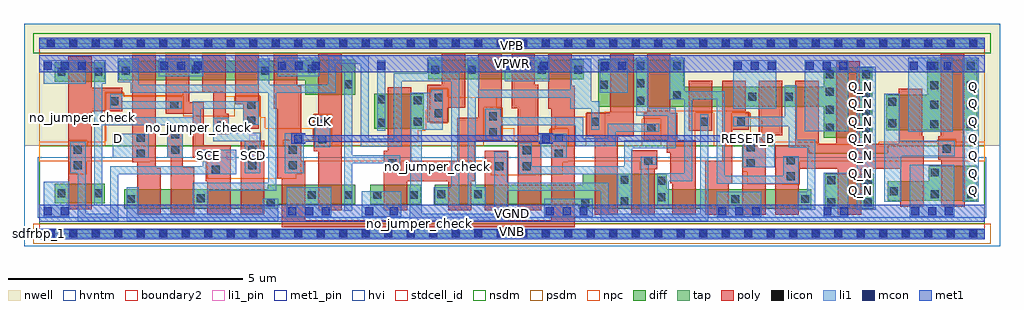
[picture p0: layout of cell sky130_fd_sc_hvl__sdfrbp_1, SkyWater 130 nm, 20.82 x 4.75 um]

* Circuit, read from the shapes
.subckt sky130_fd_sc_hvl__sdfrbp_1 CLK D Q Q_N RESET_B SCD SCE VGND VNB VPB VPWR
XM1 n1 SCE VGND VNB sky130_fd_pr__nfet_g5v0d10v5 w=0.42 l=0.5
XM2 n2 D n3 VNB sky130_fd_pr__nfet_g5v0d10v5 w=0.42 l=0.5
XM3 n4 n1 n2 VNB sky130_fd_pr__nfet_g5v0d10v5 w=0.42 l=0.5
XM4 n5 SCE n4 VNB sky130_fd_pr__nfet_g5v0d10v5 w=0.42 l=0.5
XM5 n3 SCD n5 VNB sky130_fd_pr__nfet_g5v0d10v5 w=0.42 l=0.5
XM6 VGND RESET_B n3 VNB sky130_fd_pr__nfet_g5v0d10v5 w=0.42 l=0.5
XM7 n6 CLK VGND VNB sky130_fd_pr__nfet_g5v0d10v5 w=0.42 l=0.5
XM8 n7 n6 VGND VNB sky130_fd_pr__nfet_g5v0d10v5 w=0.42 l=0.5
XM9 n8 n6 n4 VNB sky130_fd_pr__nfet_g5v0d10v5 w=0.42 l=0.5
XM10 n9 n7 n8 VNB sky130_fd_pr__nfet_g5v0d10v5 w=0.42 l=0.5
XM11 n10 n11 n9 VNB sky130_fd_pr__nfet_g5v0d10v5 w=0.42 l=0.5
XM12 VGND RESET_B n10 VNB sky130_fd_pr__nfet_g5v0d10v5 w=0.42 l=0.5
XM13 n11 n8 VGND VNB sky130_fd_pr__nfet_g5v0d10v5 w=0.75 l=0.5
XM14 n12 n7 n11 VNB sky130_fd_pr__nfet_g5v0d10v5 w=0.75 l=0.5
XM15 n13 n6 n12 VNB sky130_fd_pr__nfet_g5v0d10v5 w=0.42 l=0.5
XM16 VGND n14 n13 VNB sky130_fd_pr__nfet_g5v0d10v5 w=0.42 l=0.5
XM17 n15 RESET_B VGND VNB sky130_fd_pr__nfet_g5v0d10v5 w=0.42 l=0.5
XM18 n14 n12 n15 VNB sky130_fd_pr__nfet_g5v0d10v5 w=0.42 l=0.5
XM19 Q_N n12 VGND VNB sky130_fd_pr__nfet_g5v0d10v5 w=0.75 l=0.5
XM20 VGND n12 n16 VNB sky130_fd_pr__nfet_g5v0d10v5 w=0.42 l=0.5
XM21 Q n16 VGND VNB sky130_fd_pr__nfet_g5v0d10v5 w=0.75 l=0.5
XM22 n1 SCE VPWR VPB sky130_fd_pr__pfet_g5v0d10v5 w=0.42 l=0.5
XM23 n17 D n4 VPB sky130_fd_pr__pfet_g5v0d10v5 w=0.42 l=0.5
XM24 VPWR SCE n17 VPB sky130_fd_pr__pfet_g5v0d10v5 w=0.42 l=0.5
XM25 n18 SCD VPWR VPB sky130_fd_pr__pfet_g5v0d10v5 w=0.42 l=0.5
XM26 n4 n1 n18 VPB sky130_fd_pr__pfet_g5v0d10v5 w=0.42 l=0.5
XM27 VPWR RESET_B n4 VPB sky130_fd_pr__pfet_g5v0d10v5 w=0.42 l=0.5
XM28 n6 CLK VPWR VPB sky130_fd_pr__pfet_g5v0d10v5 w=0.75 l=0.5
XM29 n7 n6 VPWR VPB sky130_fd_pr__pfet_g5v0d10v5 w=0.75 l=0.5
XM30 n8 n7 n4 VPB sky130_fd_pr__pfet_g5v0d10v5 w=0.42 l=0.5
XM31 n19 n6 n8 VPB sky130_fd_pr__pfet_g5v0d10v5 w=0.42 l=0.5
XM32 VPWR n11 n19 VPB sky130_fd_pr__pfet_g5v0d10v5 w=0.42 l=0.5
XM33 n8 RESET_B VPWR VPB sky130_fd_pr__pfet_g5v0d10v5 w=0.42 l=0.5
XM34 n11 n8 VPWR VPB sky130_fd_pr__pfet_g5v0d10v5 w=1 l=0.5
XM35 n12 n6 n11 VPB sky130_fd_pr__pfet_g5v0d10v5 w=1 l=0.5
XM36 n20 n7 n12 VPB sky130_fd_pr__pfet_g5v0d10v5 w=0.42 l=0.5
XM37 VPWR n14 n20 VPB sky130_fd_pr__pfet_g5v0d10v5 w=0.42 l=0.5
XM38 n14 RESET_B VPWR VPB sky130_fd_pr__pfet_g5v0d10v5 w=0.42 l=0.5
XM39 VPWR n12 n14 VPB sky130_fd_pr__pfet_g5v0d10v5 w=0.42 l=0.5
XM40 Q_N n12 VPWR VPB sky130_fd_pr__pfet_g5v0d10v5 w=1.5 l=0.5
XM41 VPWR n12 n16 VPB sky130_fd_pr__pfet_g5v0d10v5 w=0.75 l=0.5
XM42 Q n16 VPWR VPB sky130_fd_pr__pfet_g5v0d10v5 w=1.5 l=0.5
.ends

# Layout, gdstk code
import gdstk
lib = gdstk.Library(unit=1e-6, precision=1e-09)
def R(c, l, rs):  # rectangles x0, y0, x1, y1
    for r in rs: c.add(gdstk.rectangle(r[:2], r[2:], *l))
def A(c, l, x, y, w, h, nx, ny, dx, dy):  # array of equal rectangles
    R(c, l, [(x+i*dx, y+j*dy, x+i*dx+w, y+j*dy+h) for i in range(nx) for j in range(ny)])
def P(c, l, *ps):  # polygons
    for p in ps: c.add(gdstk.Polygon(p, *l))
nwell = (64, 20)
diff = (65, 20)
tap = (65, 44)
poly = (66, 20)
licon = (66, 44)
li1_pin = (67, 16)
li1 = (67, 20)
mcon = (67, 44)
met1_pin = (68, 16)
met1 = (68, 20)
hvi = (75, 20)
stdcell_id = (81, 4)
nsdm = (93, 44)
psdm = (94, 20)
npc = (95, 20)
hvntm = (125, 20)
boundary2 = (236, 0)

sky130_fd_sc_hvl__sdfrbp = lib.new_cell('sky130_fd_sc_hvl__sdfrbp_1')
P(sky130_fd_sc_hvl__sdfrbp, nwell, [(20.49,4.485),(-0.33,4.485),(-0.33,1.885),(16.405,1.885),(16.405,1.72),(18.095,1.72),(18.095,1.885),(20.49,1.885)])
R(sky130_fd_sc_hvl__sdfrbp, diff, [(16.765,0.535,17.795,1.285), (7.06,0.63,8.13,1.05), (0.325,0.655,1.395,1.075), (7.145,2.245,8.195,2.995), (0.325,3.245,1.395,3.665), (8.295,3.295,11.615,3.715)])
P(sky130_fd_sc_hvl__sdfrbp, diff, [(6.735,1.05),(4.865,1.05),(4.865,0.955),(1.805,0.955),(1.805,0.535),(5.095,0.535),(5.095,0.63),(6.735,0.63)],
  [(6.735,3.715),(5.665,3.715),(5.665,3.695),(1.695,3.695),(1.695,3.275),(5.665,3.275),(5.665,2.965),(6.735,2.965)],
  [(16.465,0.955),(13.385,0.955),(13.385,1.285),(11.59,1.285),(11.59,1.05),(8.43,1.05),(8.43,0.63),(11.49,0.63),(11.49,0.535),(16.465,0.535)],
  [(17.765,3.55),(16.735,3.55),(16.735,3.135),(13.745,3.135),(13.745,3.715),(11.915,3.715),(11.915,2.715),(16.735,2.715),(16.735,2.05),(17.765,2.05)],
  [(20,1.455),(18.97,1.455),(18.97,1.125),(18.095,1.125),(18.095,0.705),(20,0.705)],
  [(20.01,3.715),(18.94,3.715),(18.94,2.965),(18.065,2.965),(18.065,2.215),(20.01,2.215)])
R(sky130_fd_sc_hvl__sdfrbp, tap, [(0,-0.085,20.16,0.085), (0,3.985,20.16,4.155)])
R(sky130_fd_sc_hvl__sdfrbp, poly, [(4.29,0.405,4.79,1.985), (9.495,0.5,9.995,1.775), (13.855,2.205,14.355,3.265)])
P(sky130_fd_sc_hvl__sdfrbp, poly, [(1.77,3.115),(1.11,3.115),(1.11,3.795),(0.61,3.795),(0.61,0.525),(1.11,0.525),(1.11,2.615),(1.77,2.615)],
  [(19.735,2.085),(19.725,2.085),(19.725,3.845),(19.225,3.845),(19.225,2.085),(19.17,2.085),(19.17,1.585),(19.235,1.585),(19.235,0.575),(19.735,0.575)],
  [(2.59,1.415),(2.48,1.415),(2.48,3.825),(1.98,3.825),(1.98,1.525),(2.09,1.525),(2.09,0.405),(2.59,0.405)],
  [(3.3,1.42),(3.06,1.42),(3.06,2.315),(2.73,2.315),(2.73,1.625),(2.8,1.625),(2.8,0.405),(3.3,0.405)],
  [(18.86,2.085),(18.83,2.085),(18.83,3.095),(18.33,3.095),(18.33,1.92),(17.5,1.92),(17.5,3.68),(17,3.68),(17,1.92),(16.625,1.92),(16.625,3.265),(16.125,3.265),(16.125,1.895),(15.7,1.895),(15.7,0.405),(16.2,0.405),(16.2,1.065),(16.215,1.065),(16.215,1.395),(17.03,1.395),(17.03,0.405),(17.53,0.405),(17.53,1.395),(18.36,1.395),(18.36,0.575),(18.86,0.575)],
  [(4.04,2.56),(3.97,2.56),(3.97,3.825),(3.47,3.825),(3.47,3.015),(3.71,3.015),(3.71,2.13),(4.04,2.13)],
  [(4.08,1.89),(3.5,1.89),(3.5,2.805),(3.19,2.805),(3.19,3.825),(2.69,3.825),(2.69,2.565),(3.27,2.565),(3.27,1.63),(3.55,1.63),(3.55,1.125),(3.58,1.125),(3.58,0.405),(4.08,0.405)],
  [(15.845,3.265),(15.345,3.265),(15.345,2.605),(15.34,2.605),(15.34,2.015),(14.99,2.015),(14.99,0.405),(15.49,0.405),(15.49,2.105),(15.845,2.105)],
  [(4.68,3.825),(4.18,3.825),(4.18,2.77),(4.35,2.77),(4.35,2.245),(4.68,2.245)],
  [(15.13,2.605),(15.065,2.605),(15.065,3.265),(14.565,3.265),(14.565,1.565),(14.205,1.565),(14.205,0.405),(14.705,0.405),(14.705,1.065),(14.78,1.065),(14.78,2.225),(15.13,2.225)],
  [(12.68,3.845),(12.18,3.845),(12.18,2.585),(11.675,2.585),(11.675,2.085),(11.84,2.085),(11.84,0.405),(12.34,0.405),(12.34,2.085),(12.68,2.085)],
  [(13.995,1.995),(13.61,1.995),(13.61,2.585),(13.46,2.585),(13.46,3.845),(12.96,3.845),(12.96,2.585),(12.89,2.585),(12.89,1.995),(13.385,1.995),(13.385,1.735),(13.46,1.735),(13.46,1.085),(13.495,1.085),(13.495,0.405),(13.995,0.405)],
  [(13.175,1.785),(12.62,1.785),(12.62,0.405),(13.12,0.405),(13.12,1.395),(13.175,1.395)],
  [(6.45,3.845),(5.95,3.845),(5.95,2.54),(5.85,2.54),(5.85,1.765),(5.95,1.765),(5.95,0.5),(6.45,0.5)],
  [(9.08,3.845),(8.58,3.845),(8.58,3.185),(8.27,3.185),(8.27,2.385),(8.705,2.385),(8.705,2.69),(9.08,2.69)],
  [(9.86,3.845),(9.36,3.845),(9.36,2.48),(8.915,2.48),(8.915,1.565),(7.93,1.565),(7.93,3.125),(7.43,3.125),(7.43,1.775),(7.345,1.775),(7.345,0.5),(7.845,0.5),(7.845,1.125),(8.715,1.125),(8.715,0.5),(9.215,0.5),(9.215,1.125),(9.285,1.125),(9.285,1.985),(9.86,1.985)],
  [(10.705,1.965),(10.64,1.965),(10.64,3.185),(10.57,3.185),(10.57,3.845),(10.07,3.845),(10.07,2.685),(10.205,2.685),(10.205,0.5),(10.705,0.5)],
  [(11.415,3.165),(11.35,3.165),(11.35,3.845),(10.85,3.845),(10.85,2.665),(10.915,2.665),(10.915,0.29),(5.67,0.29),(5.67,1.555),(5.585,1.555),(5.585,3.165),(5.5,3.165),(5.5,3.825),(5,3.825),(5,2.665),(5.07,2.665),(5.07,1.185),(5.17,1.185),(5.17,0.14),(11.415,0.14)])
A(sky130_fd_sc_hvl__sdfrbp, licon, 0.155, -0.085, 0.17, 0.17, 42, 2, 0.48, 4.07)
A(sky130_fd_sc_hvl__sdfrbp, licon, 12.735, 2.755, 0.17, 0.17, 1, 3, 0, 0.375)
R(sky130_fd_sc_hvl__sdfrbp, licon, [(11.555,0.575,11.725,0.745), (4.845,0.585,5.015,0.755), (16.805,0.595,16.975,0.765), (17.585,0.595,17.755,0.765), (12.395,0.615,12.565,0.785), (14.76,0.65,14.93,0.82), (1.865,0.66,2.035,0.83), (16.255,0.66,16.425,0.83), (3.355,0.68,3.525,0.85), (13.175,0.695,13.345,0.865), (5.725,0.745,5.895,0.915), (6.505,0.745,6.675,0.915), (7.12,0.745,7.29,0.915), (7.9,0.745,8.07,0.915), (8.49,0.765,8.66,0.935), (9.27,0.765,9.44,0.935), (19.01,0.765,19.18,0.935), (19.79,0.765,19.96,0.935), (0.385,0.78,0.555,0.95), (1.165,0.78,1.335,0.95), (18.135,0.83,18.305,1), (13.175,1.045,13.345,1.215), (16.805,1.055,16.975,1.225), (17.585,1.055,17.755,1.225), (12.395,1.075,12.565,1.245), (15.945,1.145,16.115,1.315), (19.01,1.225,19.18,1.395), (19.79,1.225,19.96,1.395), (3.68,1.28,3.85,1.45), (9.725,1.355,9.895,1.525), (10.305,1.355,10.475,1.525), (0.735,1.375,0.905,1.545), (4.455,1.375,4.625,1.545), (5.315,1.375,5.485,1.545), (7.445,1.425,7.615,1.595), (15.09,1.425,15.26,1.595), (12.905,1.475,13.075,1.645), (15.945,1.485,16.115,1.655), (3.68,1.62,3.85,1.79), (2.08,1.625,2.25,1.795), (10.995,1.625,11.165,1.795), (10.305,1.695,10.475,1.865), (2.81,1.705,2.98,1.875), (0.735,1.715,0.905,1.885), (4.455,1.715,4.625,1.885), (5.315,1.715,5.485,1.885), (19.27,1.735,19.44,1.905), (15.09,1.765,15.26,1.935), (5.95,1.93,6.12,2.1), (2.08,1.965,2.25,2.135), (10.995,1.965,11.165,2.135), (2.81,2.045,2.98,2.215), (9.59,2.085,9.76,2.255), (17.555,2.11,17.725,2.28), (12.97,2.175,13.14,2.345), (16.775,2.185,16.945,2.355), (3.79,2.23,3.96,2.4), (19,2.255,19.17,2.425), (19.78,2.255,19.95,2.425), (5.95,2.27,6.12,2.44), (18.105,2.275,18.275,2.445), (7.205,2.285,7.375,2.455), (7.985,2.305,8.155,2.475), (11.775,2.305,11.945,2.475), (14.1,2.305,14.27,2.475), (14.88,2.305,15.05,2.475), (4.43,2.325,4.6,2.495), (9.59,2.425,9.76,2.595), (8.435,2.485,8.605,2.655), (17.555,2.51,17.725,2.68), (16.775,2.56,16.945,2.73), (2.79,2.665,2.96,2.835), (4.43,2.665,4.6,2.835), (19,2.67,19.17,2.84), (19.78,2.67,19.95,2.84), (18.105,2.735,18.275,2.905), (1.515,2.745,1.685,2.915), (7.985,2.765,8.155,2.935), (7.205,2.785,7.375,2.955), (8.435,2.825,8.605,2.995), (15.12,2.84,15.29,3.01), (15.9,2.84,16.07,3.01), (13.515,2.875,13.685,3.045), (17.555,2.92,17.725,3.09), (16.775,2.945,16.945,3.115), (19,3.09,19.17,3.26), (19.78,3.09,19.95,3.26), (11.955,3.095,12.125,3.265), (6.505,3.105,6.675,3.275), (16.775,3.32,16.945,3.49), (17.555,3.32,17.725,3.49), (0.385,3.37,0.555,3.54), (1.165,3.37,1.335,3.54), (1.755,3.4,1.925,3.57), (4.735,3.4,4.905,3.57), (8.355,3.42,8.525,3.59), (9.135,3.42,9.305,3.59), (10.625,3.42,10.795,3.59), (11.405,3.42,11.575,3.59), (3.245,3.425,3.415,3.595), (5.725,3.435,5.895,3.605), (11.955,3.485,12.125,3.655), (13.515,3.505,13.685,3.675), (19,3.505,19.17,3.675), (19.78,3.505,19.95,3.675)])
A(sky130_fd_sc_hvl__sdfrbp, li1_pin, 17.435, 0.84, 0.17, 0.17, 1, 7, 0, 0.37)
A(sky130_fd_sc_hvl__sdfrbp, li1_pin, 19.835, 0.84, 0.17, 0.17, 1, 7, 0, 0.37)
A(sky130_fd_sc_hvl__sdfrbp, li1_pin, 3.515, 1.58, 0.17, 0.17, 3, 1, 0.48, 0)
R(sky130_fd_sc_hvl__sdfrbp, li1_pin, [(1.595,1.95,1.765,2.12), (4.475,1.95,4.645,2.12), (15.035,1.95,15.205,2.12), (15.515,1.95,15.685,2.12), (5.915,2.32,6.085,2.49)])
R(sky130_fd_sc_hvl__sdfrbp, li1, [(0,-0.085,20.16,0.085), (0.09,0.365,0.635,1.115), (5.275,0.365,6.225,0.995), (6.87,0.365,7.72,0.915), (10.77,0.365,11.805,0.745), (14.45,0.365,15.4,0.895), (16.725,0.365,17.255,1.305), (18.565,0.365,19.515,1.475), (17.435,0.515,17.835,3.57), (19.7,0.685,20.04,3.755), (5.235,1.295,5.635,2.15), (15.005,1.425,15.685,2.12), (1.565,1.625,2.33,2.135), (10.685,1.625,11.245,2.135), (5.87,1.85,6.2,2.52), (18.535,2.175,19.485,3.755), (16.33,2.185,17.255,3.705), (7.205,2.205,7.375,3.705), (14.8,2.675,15.72,3.705), (11.955,3.015,12.545,3.735), (0.09,3.205,0.985,3.705), (9.925,3.255,10.875,3.755), (2.545,3.365,3.495,3.735), (5.085,3.365,5.975,3.755), (0,3.985,20.16,4.155)])
P(sky130_fd_sc_hvl__sdfrbp, li1, [(3.04,2.835),(1.765,2.835),(1.765,2.995),(1.515,2.995),(1.515,2.665),(3.04,2.665)],
  [(4.195,1.795),(3.485,1.795),(3.485,1.445),(1.515,1.445),(1.515,0.435),(0.985,0.435),(0.985,1.965),(0.655,1.965),(0.655,1.295),(0.815,1.295),(0.815,0.265),(1.685,0.265),(1.685,1.275),(4.195,1.275)],
  [(4.68,2.835),(3.27,2.835),(3.27,2.485),(1.335,2.485),(1.335,3.205),(1.415,3.205),(1.415,3.705),(1.165,3.705),(1.165,0.615),(1.335,0.615),(1.335,2.315),(2.73,2.315),(2.73,1.625),(3.06,1.625),(3.06,2.315),(3.44,2.315),(3.44,2.665),(4.35,2.665),(4.35,2.325),(4.68,2.325)],
  [(4.705,2.155),(4.04,2.155),(4.04,2.48),(3.71,2.48),(3.71,1.975),(4.375,1.975),(4.375,1.295),(4.705,1.295)],
  [(5.095,0.755),(4.765,0.755),(4.765,0.435),(2.115,0.435),(2.115,0.995),(1.865,0.995),(1.865,0.265),(5.095,0.265)],
  [(7.695,1.675),(6.675,1.675),(6.675,3.455),(6.505,3.455),(6.505,0.495),(6.675,0.495),(6.675,1.505),(7.365,1.505),(7.365,1.345),(7.695,1.345)],
  [(8.955,3.425),(8.605,3.425),(8.605,3.755),(8.275,3.755),(8.275,3.425),(7.555,3.425),(7.555,2.025),(7.025,2.025),(7.025,3.805),(6.155,3.805),(6.155,3.185),(4.905,3.185),(4.905,3.735),(4.655,3.735),(4.655,3.185),(2.115,3.185),(2.115,3.735),(1.675,3.735),(1.675,3.235),(1.945,3.235),(1.945,3.015),(4.885,3.015),(4.885,1.095),(3.275,1.095),(3.275,0.615),(3.605,0.615),(3.605,0.925),(5.055,0.925),(5.055,3.015),(6.325,3.015),(6.325,3.635),(6.855,3.635),(6.855,1.855),(7.725,1.855),(7.725,3.255),(8.785,3.255),(8.785,0.995),(8.41,0.995),(8.41,0.615),(8.955,0.615)],
  [(11.945,2.835),(11.775,2.835),(11.775,3.735),(11.325,3.735),(11.325,3.075),(9.385,3.075),(9.385,3.755),(9.135,3.755),(9.135,0.615),(9.52,0.615),(9.52,0.995),(9.305,0.995),(9.305,2.905),(11.325,2.905),(11.325,2.665),(11.775,2.665),(11.775,2.225),(11.945,2.225)],
  [(13.22,2.345),(12.125,2.345),(12.125,2.045),(11.595,2.045),(11.595,2.485),(9.84,2.485),(9.84,2.675),(9.51,2.675),(9.51,2.005),(9.84,2.005),(9.84,2.315),(11.425,2.315),(11.425,1.875),(12.295,1.875),(12.295,2.175),(13.22,2.175)],
  [(13.57,2.695),(12.985,2.695),(12.985,3.755),(12.735,3.755),(12.735,2.525),(13.4,2.525),(13.4,1.995),(12.475,1.995),(12.475,1.445),(10.505,1.445),(10.505,1.945),(10.225,1.945),(10.225,1.275),(12.315,1.275),(12.315,0.615),(12.645,0.615),(12.645,1.825),(13.57,1.825)],
  [(14.27,2.555),(14.1,2.555),(14.1,0.435),(12.995,0.435),(12.995,1.475),(13.155,1.475),(13.155,1.645),(12.825,1.645),(12.825,0.435),(12.145,0.435),(12.145,1.095),(9.975,1.095),(9.975,1.755),(9.7,1.755),(9.7,0.435),(8.15,0.435),(8.15,2.225),(8.605,2.225),(8.605,3.075),(8.355,3.075),(8.355,3.015),(7.905,3.015),(7.905,0.995),(7.9,0.995),(7.9,0.265),(9.975,0.265),(9.975,0.925),(11.975,0.925),(11.975,0.265),(14.27,0.265)],
  [(16.195,1.655),(15.865,1.655),(15.865,1.245),(14.62,1.245),(14.62,3.045),(13.765,3.045),(13.765,3.755),(13.435,3.755),(13.435,2.875),(13.75,2.875),(13.75,1.295),(13.175,1.295),(13.175,0.615),(13.425,0.615),(13.425,1.125),(13.92,1.125),(13.92,2.875),(14.45,2.875),(14.45,1.075),(16.195,1.075)],
  [(16.545,2.005),(16.15,2.005),(16.15,3.175),(15.9,3.175),(15.9,2.495),(14.8,2.495),(14.8,2.3),(15.98,2.3),(15.98,1.835),(16.375,1.835),(16.375,0.895),(16.175,0.895),(16.175,0.515),(16.545,0.515)],
  [(19.52,1.985),(18.355,1.985),(18.355,2.985),(18.025,2.985),(18.025,0.685),(18.385,0.685),(18.385,1.655),(19.52,1.655)])
A(sky130_fd_sc_hvl__sdfrbp, mcon, 0.155, -0.085, 0.17, 0.17, 42, 2, 0.48, 4.07)
A(sky130_fd_sc_hvl__sdfrbp, mcon, 5.305, 0.395, 0.17, 0.17, 3, 1, 0.36, 0)
A(sky130_fd_sc_hvl__sdfrbp, mcon, 10.8, 0.395, 0.17, 0.17, 3, 1, 0.36, 0)
A(sky130_fd_sc_hvl__sdfrbp, mcon, 14.48, 0.395, 0.17, 0.17, 3, 1, 0.36, 0)
A(sky130_fd_sc_hvl__sdfrbp, mcon, 18.595, 0.395, 0.17, 0.17, 3, 1, 0.36, 0)
A(sky130_fd_sc_hvl__sdfrbp, mcon, 0.095, 3.505, 0.17, 0.17, 3, 1, 0.36, 0)
A(sky130_fd_sc_hvl__sdfrbp, mcon, 2.575, 3.505, 0.17, 0.17, 3, 1, 0.36, 0)
A(sky130_fd_sc_hvl__sdfrbp, mcon, 5.085, 3.505, 0.17, 0.17, 3, 1, 0.36, 0)
A(sky130_fd_sc_hvl__sdfrbp, mcon, 9.955, 3.505, 0.17, 0.17, 3, 1, 0.36, 0)
A(sky130_fd_sc_hvl__sdfrbp, mcon, 14.815, 3.505, 0.17, 0.17, 3, 1, 0.36, 0)
A(sky130_fd_sc_hvl__sdfrbp, mcon, 16.345, 3.505, 0.17, 0.17, 3, 1, 0.36, 0)
A(sky130_fd_sc_hvl__sdfrbp, mcon, 18.565, 3.505, 0.17, 0.17, 3, 1, 0.36, 0)
R(sky130_fd_sc_hvl__sdfrbp, mcon, [(0.095,0.395,0.265,0.565), (0.455,0.395,0.625,0.565), (6.95,0.395,7.12,0.565), (7.47,0.395,7.64,0.565), (16.725,0.395,16.895,0.565), (17.085,0.395,17.255,0.565), (5.435,1.95,5.605,2.12), (10.715,1.95,10.885,2.12), (15.035,1.95,15.205,2.12), (7.205,3.505,7.375,3.675), (11.985,3.505,12.155,3.675), (12.345,3.505,12.515,3.675)])
R(sky130_fd_sc_hvl__sdfrbp, met1_pin, [(0,0,20.16,0.115), (0,0.255,20.16,0.625), (0,3.445,20.16,3.815), (0,3.955,20.16,4.07)])
R(sky130_fd_sc_hvl__sdfrbp, met1, [(0,-0.115,20.16,0.115), (0,0.255,20.16,0.625), (0,3.445,20.16,3.815), (0,3.955,20.16,4.185)])
P(sky130_fd_sc_hvl__sdfrbp, met1, [(15.265,2.15),(14.975,2.15),(14.975,2.105),(10.945,2.105),(10.945,2.15),(10.655,2.15),(10.655,2.105),(5.665,2.105),(5.665,2.15),(5.375,2.15),(5.375,1.92),(5.665,1.92),(5.665,1.965),(10.655,1.965),(10.655,1.92),(10.945,1.92),(10.945,1.965),(14.975,1.965),(14.975,1.92),(15.265,1.92)])
R(sky130_fd_sc_hvl__sdfrbp, hvi, [(-0.33,-0.265,20.49,4.485)])
R(sky130_fd_sc_hvl__sdfrbp, stdcell_id, [(0,0,20.16,4.07)])
R(sky130_fd_sc_hvl__sdfrbp, nsdm, [(-0.13,3.855,20.29,4.285)])
P(sky130_fd_sc_hvl__sdfrbp, nsdm, [(20.16,1.885),(18.095,1.885),(18.095,1.72),(16.405,1.72),(16.405,1.885),(0,1.885),(0,0.215),(20.16,0.215)])
R(sky130_fd_sc_hvl__sdfrbp, psdm, [(-0.13,-0.215,20.29,0.215)])
P(sky130_fd_sc_hvl__sdfrbp, psdm, [(20.16,3.855),(8.715,3.855),(8.715,2.375),(8.325,2.375),(8.325,3.105),(8.715,3.105),(8.715,3.855),(0,3.855),(0,1.885),(0.625,1.885),(0.625,1.995),(1.015,1.995),(1.015,1.885),(1.405,1.885),(1.405,3.025),(1.795,3.025),(1.795,2.945),(3.07,2.945),(3.07,2.51),(4.17,2.51),(4.17,2.945),(4.71,2.945),(4.71,1.995),(4.735,1.995),(4.735,1.885),(5.205,1.885),(5.205,1.995),(5.84,1.995),(5.84,2.55),(6.23,2.55),(6.23,1.885),(9.48,1.885),(9.48,2.705),(9.87,2.705),(9.87,1.975),(10.885,1.975),(10.885,2.245),(11.275,2.245),(11.275,1.885),(11.665,1.885),(11.665,2.585),(12.055,2.585),(12.055,1.885),(12.86,1.885),(12.86,2.455),(13.25,2.455),(13.25,1.885),(13.99,1.885),(13.99,2.585),(14.38,2.585),(14.38,1.885),(14.77,1.885),(14.77,2.585),(15.16,2.585),(15.16,2.045),(15.37,2.045),(15.37,1.885),(16.405,1.885),(16.405,1.72),(18.095,1.72),(18.095,1.885),(19.16,1.885),(19.16,2.015),(19.55,2.015),(19.55,1.885),(20.16,1.885)])
P(sky130_fd_sc_hvl__sdfrbp, npc, [(20.16,1.97),(19.54,1.97),(19.54,2.005),(19.17,2.005),(19.17,1.97),(17.905,1.97),(17.905,1.91),(16.595,1.91),(16.595,1.97),(15.415,1.97),(15.415,2.47),(15.15,2.47),(15.15,2.575),(15.045,2.575),(15.045,2.625),(12.975,2.625),(12.975,2.605),(12.045,2.605),(12.045,2.575),(11.675,2.575),(11.675,2.5),(11,2.5),(11,2.235),(10.895,2.235),(10.895,1.97),(10.125,1.97),(10.125,2.25),(9.86,2.25),(9.86,2.695),(9.755,2.695),(9.755,2.915),(8.705,2.915),(8.705,3.095),(8.335,3.095),(8.335,2.65),(8.245,2.65),(8.245,2.215),(8.07,2.215),(8.07,1.97),(6.22,1.97),(6.22,2.54),(5.85,2.54),(5.85,2.25),(4.815,2.25),(4.815,2.49),(4.7,2.49),(4.7,2.935),(3.97,2.935),(3.97,3.03),(3.06,3.03),(3.06,2.935),(1.785,2.935),(1.785,3.015),(1.415,3.015),(1.415,1.97),(1.005,1.97),(1.005,1.985),(0.635,1.985),(0.635,1.97),(0,1.97),(0,1.545),(0.635,1.545),(0.635,1.275),(1.005,1.275),(1.005,1.545),(1.98,1.545),(1.98,1.525),(2.35,1.525),(2.35,1.545),(3.58,1.545),(3.58,1.18),(5.48,1.18),(5.48,1.275),(5.585,1.275),(5.585,1.545),(7.345,1.545),(7.345,1.325),(7.715,1.325),(7.715,1.545),(9.625,1.545),(9.625,1.255),(10.575,1.255),(10.575,1.26),(11.16,1.26),(11.16,1.525),(11.265,1.525),(11.265,1.545),(12.805,1.545),(12.805,1.375),(13.175,1.375),(13.175,1.545),(14.99,1.545),(14.99,1.325),(15.095,1.325),(15.095,1.06),(15.845,1.06),(15.845,1.045),(16.215,1.045),(16.215,1.545),(20.16,1.545)])
R(sky130_fd_sc_hvl__sdfrbp, hvntm, [(-0.035,0.35,20.195,1.64)])
R(sky130_fd_sc_hvl__sdfrbp, boundary2, [(0,0,20.16,4.07)])
sky130_fd_sc_hvl__sdfrbp.add(gdstk.Label('no_jumper_check', (3.39,2.265), layer=83, texttype=44))
sky130_fd_sc_hvl__sdfrbp.add(gdstk.Label('no_jumper_check', (0.91,2.49), layer=83, texttype=44))
sky130_fd_sc_hvl__sdfrbp.add(gdstk.Label('no_jumper_check', (8.5,1.43), layer=83, texttype=44))
sky130_fd_sc_hvl__sdfrbp.add(gdstk.Label('sdfrbp_1', (0,0), layer=83, texttype=44))
sky130_fd_sc_hvl__sdfrbp.add(gdstk.Label('no_jumper_check', (8.115,0.215), layer=83, texttype=44))
sky130_fd_sc_hvl__sdfrbp.add(gdstk.Label('VGND', (10.08,0.44), layer=68, texttype=5))
sky130_fd_sc_hvl__sdfrbp.add(gdstk.Label('VNB', (10.08,0.058), layer=68, texttype=5))
sky130_fd_sc_hvl__sdfrbp.add(gdstk.Label('VPWR', (10.08,3.63), layer=68, texttype=5))
sky130_fd_sc_hvl__sdfrbp.add(gdstk.Label('VPB', (10.08,4.013), layer=68, texttype=5))
sky130_fd_sc_hvl__sdfrbp.add(gdstk.Label('SCE', (3.6,1.665), layer=67, texttype=5))
sky130_fd_sc_hvl__sdfrbp.add(gdstk.Label('SCE', (4.08,1.665), layer=67, texttype=5))
sky130_fd_sc_hvl__sdfrbp.add(gdstk.Label('RESET_B', (15.12,2.035), layer=67, texttype=5))
sky130_fd_sc_hvl__sdfrbp.add(gdstk.Label('RESET_B', (15.6,2.035), layer=67, texttype=5))
sky130_fd_sc_hvl__sdfrbp.add(gdstk.Label('D', (1.68,2.035), layer=67, texttype=5))
sky130_fd_sc_hvl__sdfrbp.add(gdstk.Label('CLK', (6,2.405), layer=67, texttype=5))
sky130_fd_sc_hvl__sdfrbp.add(gdstk.Label('Q', (19.92,0.925), layer=67, texttype=5))
sky130_fd_sc_hvl__sdfrbp.add(gdstk.Label('Q', (19.92,1.295), layer=67, texttype=5))
sky130_fd_sc_hvl__sdfrbp.add(gdstk.Label('Q', (19.92,1.665), layer=67, texttype=5))
sky130_fd_sc_hvl__sdfrbp.add(gdstk.Label('Q', (19.92,2.035), layer=67, texttype=5))
sky130_fd_sc_hvl__sdfrbp.add(gdstk.Label('Q', (19.92,2.405), layer=67, texttype=5))
sky130_fd_sc_hvl__sdfrbp.add(gdstk.Label('Q', (19.92,2.775), layer=67, texttype=5))
sky130_fd_sc_hvl__sdfrbp.add(gdstk.Label('Q', (19.92,3.145), layer=67, texttype=5))
sky130_fd_sc_hvl__sdfrbp.add(gdstk.Label('SCD', (4.56,1.665), layer=67, texttype=5))
sky130_fd_sc_hvl__sdfrbp.add(gdstk.Label('SCD', (4.56,2.035), layer=67, texttype=5))
sky130_fd_sc_hvl__sdfrbp.add(gdstk.Label('Q_N', (17.52,0.925), layer=67, texttype=5))
sky130_fd_sc_hvl__sdfrbp.add(gdstk.Label('Q_N', (17.52,1.295), layer=67, texttype=5))
sky130_fd_sc_hvl__sdfrbp.add(gdstk.Label('Q_N', (17.52,1.665), layer=67, texttype=5))
sky130_fd_sc_hvl__sdfrbp.add(gdstk.Label('Q_N', (17.52,2.035), layer=67, texttype=5))
sky130_fd_sc_hvl__sdfrbp.add(gdstk.Label('Q_N', (17.52,2.405), layer=67, texttype=5))
sky130_fd_sc_hvl__sdfrbp.add(gdstk.Label('Q_N', (17.52,2.775), layer=67, texttype=5))
sky130_fd_sc_hvl__sdfrbp.add(gdstk.Label('Q_N', (17.52,3.145), layer=67, texttype=5))

lib.write_gds('sky130_fd_sc_hvl__sdfrbp_1.gds')
